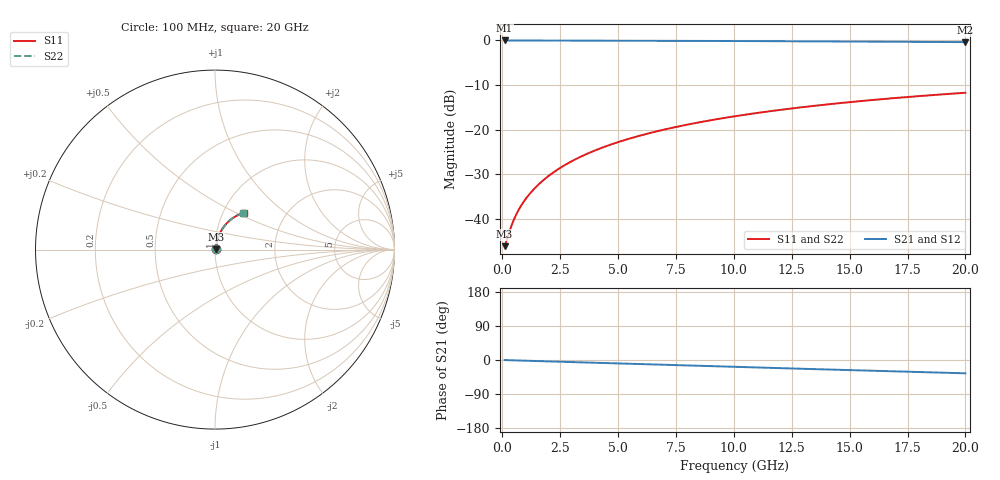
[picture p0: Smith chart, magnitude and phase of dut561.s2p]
! Touchstone file exported from HFSS 2026.1.0
!  File:  C:/ffzhzh/LocalFiles/Ansys_Project_Files/temp_train_BSMRDL_561_1783015325_4048.aedt
!  Generated:  02:03:31 AM Jul  3, 2026
!  Design:  BSMRDL
!  Project:  temp_train_BSMRDL_561_1783015325_4048
! Variables:
!  h_bsmrdl = 2.13um
!  h_ox = 20um
!  h_rdl = 5um
!  h_sub = 80um
!  h_tmrdl = 5um
!  h_tsv = 80um
!  h_via = 3um
!  l_bsmrdl = 545.97um
!  l_sub = 945.97um
!  l_tmrdl = 200um
!  m_sub = 200um
!  pitch = 33.98um
!  r_tsv = 6um
!  s_tmrdl = 10um
!  w_bsmrdl = 20.76um
!  w_sub = 500um
!  w_tmrdl = 12um
!  x_tsv_center1 = 206um
!  x_tsv_center2 = 772.73um
!  x_tsv_center3 = 984.73um
!  x_tsv_center4 = 1551.46um
!  x_tsv_center5 = 1763.46um
!  x_tsv_center6 = 2330.19um
# GHz S MA R 50.000000
! Terminal data exported
! Port[1] = BSM_RDL1_1_T1
! Port[2] = BSM_RDL1_1_T2
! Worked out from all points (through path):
!   200 points, 100 MHz to 20 GHz, reference 50 ohm
!   highest |S21| = -0.04 dB at 100 MHz (marker M1); lowest = -0.4 dB at 20 GHz (marker M2)
!   group delay of S21, straight-line fit = 4.88 ps
!   lowest |S11| = -46.0 dB at 100 MHz (marker M3), VSWR 1.01, Z = 50.5 + j0.175 ohm
!   |S11| at or under -10 dB: start of sweep to end of sweep
!   |S22| runs from -46.0 to -11.7 dB; largest |S21 - S12| = 2.6e-15
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0.1  0.004993 20.3  0.9953 -0.2  0.9953 -0.2  0.004993 20.3
! Gamma 0 0 0 0
! Port Impedance 50 0 50 0
0.4  0.008481 51.9  0.9948 -0.8  0.9948 -0.8  0.008481 51.9
0.5  0.009862 56.2  0.9946 -1.0  0.9946 -1.0  0.009862 56.2
0.6  0.01125 59.4  0.9944 -1.2  0.9944 -1.2  0.01125 59.4
0.7  0.01262 61.8  0.9942 -1.3  0.9942 -1.3  0.01262 61.8
0.9  0.01535 65.4  0.9939 -1.7  0.9939 -1.7  0.01535 65.4
1.2  0.01943 69.0  0.9936 -2.2  0.9936 -2.2  0.01943 69.0
1.4  0.02216 70.6  0.9934 -2.6  0.9934 -2.6  0.02216 70.6
1.7  0.02629 72.5  0.9932 -3.1  0.9932 -3.1  0.02629 72.5
2.2  0.03324 74.3  0.9928 -4.0  0.9928 -4.0  0.03325 74.3
2.8  0.04167 75.4  0.9923 -5.1  0.9923 -5.1  0.04167 75.4
3.5  0.05155 75.8  0.9917 -6.4  0.9917 -6.4  0.05155 75.8
4.2  0.06143 75.6  0.9909 -7.7  0.9909 -7.7  0.06143 75.6
5  0.07269 75.1  0.99 -9.1  0.99 -9.1  0.07269 75.1
5.9  0.08527 74.1  0.9887 -10.7  0.9887 -10.7  0.08528 74.2
6.8  0.09775 73.0  0.9873 -12.3  0.9873 -12.3  0.09775 73.0
8.3  0.1182 70.9  0.9846 -15.0  0.9846 -15.0  0.1182 70.9
10.1  0.1422 68.2  0.9808 -18.2  0.9808 -18.2  0.1422 68.2
11.7  0.1629 65.6  0.9771 -21.0  0.9771 -21.0  0.1629 65.7
13.4  0.1841 62.9  0.9727 -23.9  0.9727 -23.9  0.1842 62.9
16.7  0.2232 57.5  0.9634 -29.6  0.9634 -29.6  0.2232 57.5
20  0.259 52.2  0.9535 -35.1  0.9535 -35.1  0.259 52.2
